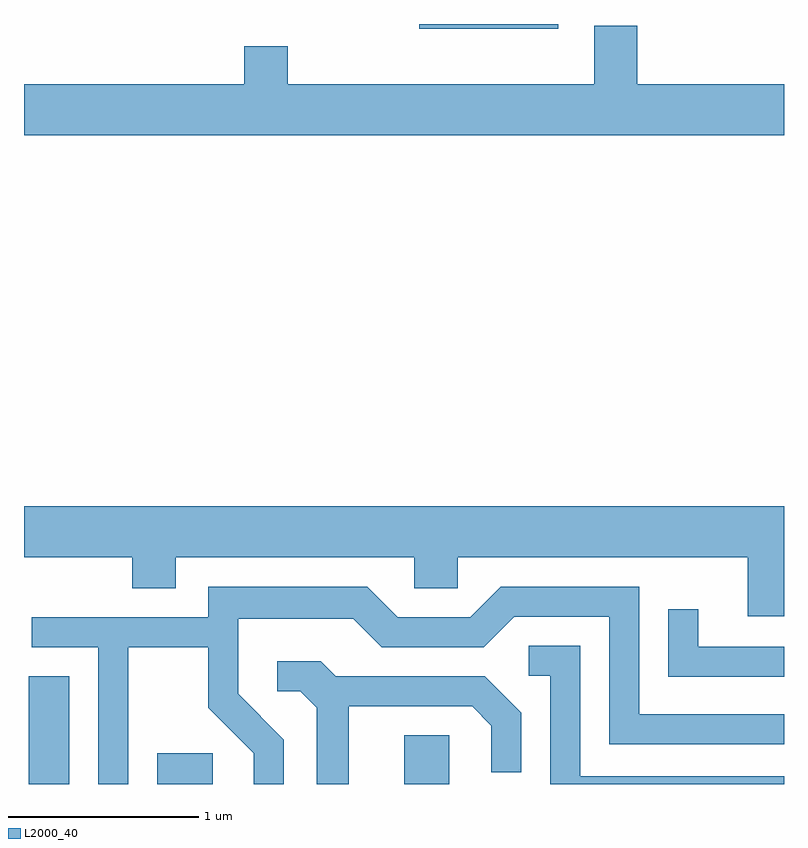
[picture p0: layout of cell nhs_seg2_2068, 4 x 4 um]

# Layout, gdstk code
import gdstk
lib = gdstk.Library(unit=1e-6, precision=1e-09)
def R(c, l, rs):  # rectangles x0, y0, x1, y1
    for r in rs: c.add(gdstk.rectangle(r[:2], r[2:], *l))
def P(c, l, *ps):  # polygons
    for p in ps: c.add(gdstk.Polygon(p, *l))
L2000_40 = (2000, 40)

nhs_seg2_2068 = lib.new_cell('nhs_seg2_2068')
R(nhs_seg2_2068, L2000_40, [(245.636,1033.802,245.849,1034.369), (246.311,1033.802,246.604,1033.964), (247.611,1033.802,247.849,1034.059), (247.691,1037.776,248.424,1037.802)])
P(nhs_seg2_2068, L2000_40, [(249.611,1037.484),(248.839,1037.484),(248.839,1037.794),(248.611,1037.794),(248.611,1037.484),(246.999,1037.484),(246.999,1037.684),(246.771,1037.684),(246.771,1037.484),(245.611,1037.484),(245.611,1037.216),(249.611,1037.216)],
  [(249.611,1035.264),(245.611,1035.264),(245.611,1034.996),(246.181,1034.996),(246.181,1034.831),(246.409,1034.831),(246.409,1034.996),(247.666,1034.996),(247.666,1034.831),(247.894,1034.831),(247.894,1034.996),(249.421,1034.996),(249.421,1034.686),(249.611,1034.686)],
  [(246.159,1034.521),(246.581,1034.521),(246.581,1034.204),(246.821,1033.964),(246.821,1033.802),(246.979,1033.802),(246.979,1034.036),(246.739,1034.277),(246.739,1034.671),(247.344,1034.671),(247.494,1034.521),(248.032,1034.521),(248.192,1034.681),(248.691,1034.681),(248.691,1034.011),(249.611,1034.011),(249.611,1034.169),(248.849,1034.169),(248.849,1034.839),(248.119,1034.839),(247.959,1034.679),(247.577,1034.679),(247.417,1034.839),(246.581,1034.839),(246.581,1034.679),(245.653,1034.679),(245.653,1034.521),(246.001,1034.521),(246.001,1033.802),(246.159,1033.802)],
  [(249.611,1034.524),(249.159,1034.524),(249.159,1034.723),(249.001,1034.723),(249.001,1034.366),(249.611,1034.366)],
  [(249.611,1033.844),(248.539,1033.844),(248.539,1034.529),(248.268,1034.529),(248.268,1034.371),(248.381,1034.371),(248.381,1033.802),(249.611,1033.802)],
  [(247.319,1034.211),(247.969,1034.211),(248.071,1034.109),(248.071,1033.863),(248.229,1033.863),(248.229,1034.177),(248.037,1034.369),(247.252,1034.369),(247.172,1034.449),(246.943,1034.449),(246.943,1034.291),(247.064,1034.291),(247.151,1034.204),(247.151,1033.802),(247.319,1033.802)])

lib.write_gds('nhs_seg2_2068.gds')
